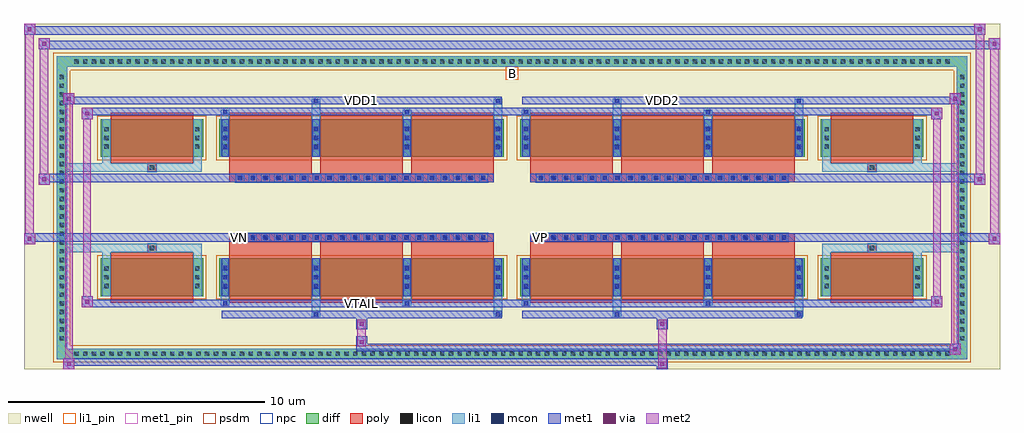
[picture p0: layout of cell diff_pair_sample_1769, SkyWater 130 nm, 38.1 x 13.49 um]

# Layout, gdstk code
import gdstk
lib = gdstk.Library(unit=1e-6, precision=5e-09)
def R(c, l, rs):  # rectangles x0, y0, x1, y1
    for r in rs: c.add(gdstk.rectangle(r[:2], r[2:], *l))
def A(c, l, x, y, w, h, nx, ny, dx, dy):  # array of equal rectangles
    R(c, l, [(x+i*dx, y+j*dy, x+i*dx+w, y+j*dy+h) for i in range(nx) for j in range(ny)])
def P(c, l, *ps):  # polygons
    for p in ps: c.add(gdstk.Polygon(p, *l))
nwell = (64, 20)
diff = (65, 20)
poly = (66, 20)
licon = (66, 44)
li1_pin = (67, 16)
li1 = (67, 20)
mcon = (67, 44)
met1_pin = (68, 16)
met1 = (68, 20)
via = (68, 44)
met2 = (69, 20)
psdm = (94, 20)
npc = (95, 20)

diff_pair_sample_1769 = lib.new_cell('diff_pair_sample_1769')
R(diff_pair_sample_1769, nwell, [(-19.05,-6.31,19.05,7.18), (-16.37,-4.5,-0.01,-0.8), (0.01,-4.5,16.37,-0.8), (-16.37,0.8,-0.01,4.5), (0.01,0.8,16.37,4.5)])
A(diff_pair_sample_1769, diff, -17.205, -5.91, 0.41, 0.41, 101, 2, 0.34, 11.41)
A(diff_pair_sample_1769, diff, -17.78, -5.305, 0.41, 0.41, 1, 31, 0, 0.34)
A(diff_pair_sample_1769, diff, 17.37, -5.305, 0.41, 0.41, 1, 31, 0, 0.34)
R(diff_pair_sample_1769, diff, [(-17.205,-5.91,17.205,-5.5), (-17.78,-5.305,-17.37,5.305), (17.37,-5.305,17.78,5.305), (-16.06,-3.455,-12.06,-1.985), (-11.42,-3.455,-0.32,-1.985), (0.32,-3.455,11.42,-1.985), (12.06,-3.455,16.06,-1.985), (-16.06,1.985,-12.06,3.455), (-11.42,1.985,-0.32,3.455), (0.32,1.985,11.42,3.455), (12.06,1.985,16.06,3.455), (-17.205,5.5,17.205,5.91)])
P(diff_pair_sample_1769, diff, [(17.78,5.91),(-17.78,5.91),(-17.78,-5.5),(-17.37,-5.5),(-17.37,5.5),(17.37,5.5),(17.37,-5.5),(-17.37,-5.5),(-17.78,-5.5),(-17.78,-5.91),(17.78,-5.91)])
A(diff_pair_sample_1769, poly, -11.03, -3.705, 3.22, 1.97, 3, 2, 3.55, 5.44)
A(diff_pair_sample_1769, poly, 0.71, -3.705, 3.22, 1.97, 3, 2, 3.55, 5.44)
A(diff_pair_sample_1769, poly, -11.03, -1.735, 3.22, 0.405, 3, 2, 3.55, 3.065)
A(diff_pair_sample_1769, poly, 0.71, -1.735, 3.22, 0.405, 3, 2, 3.55, 3.065)
A(diff_pair_sample_1769, poly, -10.785, -1.33, 0.33, 0.33, 20, 2, 0.5, 2.33)
A(diff_pair_sample_1769, poly, 0.955, -1.33, 0.33, 0.33, 20, 2, 0.5, 2.33)
R(diff_pair_sample_1769, poly, [(-15.67,-3.705,-12.45,-1.735), (12.45,-3.705,15.67,-1.735), (-14.225,-1.735,-13.895,-1.405), (-14.225,-1.735,-13.895,-1.405), (13.895,-1.735,14.225,-1.405), (13.895,-1.735,14.225,-1.405), (-11.03,-1.33,-0.71,-1), (0.71,-1.33,11.03,-1), (-11.03,1,-0.71,1.33), (0.71,1,11.03,1.33), (-14.225,1.405,-13.895,1.735), (-14.225,1.405,-13.895,1.735), (13.895,1.405,14.225,1.735), (13.895,1.405,14.225,1.735), (-15.67,1.735,-12.45,3.705), (12.45,1.735,15.67,3.705)])
A(diff_pair_sample_1769, licon, -17.085, -5.79, 0.17, 0.17, 101, 2, 0.34, 11.41)
A(diff_pair_sample_1769, licon, -17.66, -5.185, 0.17, 0.17, 1, 31, 0, 0.34)
A(diff_pair_sample_1769, licon, 17.49, -5.185, 0.17, 0.17, 1, 31, 0, 0.34)
A(diff_pair_sample_1769, licon, -15.92, -3.145, 0.17, 0.17, 1, 3, 0, 0.34)
A(diff_pair_sample_1769, licon, -12.37, -3.145, 0.17, 0.17, 1, 3, 0, 0.34)
A(diff_pair_sample_1769, licon, -11.28, -3.145, 0.17, 0.17, 4, 3, 3.55, 0.34)
A(diff_pair_sample_1769, licon, 0.46, -3.145, 0.17, 0.17, 4, 3, 3.55, 0.34)
A(diff_pair_sample_1769, licon, 12.2, -3.145, 0.17, 0.17, 1, 3, 0, 0.34)
A(diff_pair_sample_1769, licon, 15.75, -3.145, 0.17, 0.17, 1, 3, 0, 0.34)
A(diff_pair_sample_1769, licon, -10.705, -1.25, 0.17, 0.17, 20, 2, 0.5, 2.33)
A(diff_pair_sample_1769, licon, 1.035, -1.25, 0.17, 0.17, 20, 2, 0.5, 2.33)
A(diff_pair_sample_1769, licon, -15.92, 2.295, 0.17, 0.17, 1, 3, 0, 0.34)
A(diff_pair_sample_1769, licon, -12.37, 2.295, 0.17, 0.17, 1, 3, 0, 0.34)
A(diff_pair_sample_1769, licon, -11.28, 2.295, 0.17, 0.17, 4, 3, 3.55, 0.34)
A(diff_pair_sample_1769, licon, 0.46, 2.295, 0.17, 0.17, 4, 3, 3.55, 0.34)
A(diff_pair_sample_1769, licon, 12.2, 2.295, 0.17, 0.17, 1, 3, 0, 0.34)
A(diff_pair_sample_1769, licon, 15.75, 2.295, 0.17, 0.17, 1, 3, 0, 0.34)
R(diff_pair_sample_1769, licon, [(-14.145,-1.655,-13.975,-1.485), (13.975,-1.655,14.145,-1.485), (-14.145,1.485,-13.975,1.655), (13.975,1.485,14.145,1.655)])
R(diff_pair_sample_1769, li1_pin, [(-0.25,5,0.25,5.5)])
A(diff_pair_sample_1769, li1, -17.165, -5.87, 0.33, 0.33, 101, 2, 0.34, 11.41)
A(diff_pair_sample_1769, li1, -17.74, -5.265, 0.33, 0.33, 1, 31, 0, 0.34)
A(diff_pair_sample_1769, li1, 17.41, -5.265, 0.33, 0.33, 1, 31, 0, 0.34)
A(diff_pair_sample_1769, li1, -11.36, -3.455, 0.33, 1.47, 4, 2, 3.55, 5.44)
A(diff_pair_sample_1769, li1, 0.38, -3.455, 0.33, 1.47, 4, 2, 3.55, 5.44)
A(diff_pair_sample_1769, li1, -16, -3.225, 0.33, 0.33, 1, 3, 0, 0.34)
A(diff_pair_sample_1769, li1, -12.45, -3.225, 0.33, 0.33, 1, 3, 0, 0.34)
A(diff_pair_sample_1769, li1, -11.36, -3.225, 0.33, 0.33, 4, 3, 3.55, 0.34)
A(diff_pair_sample_1769, li1, 0.38, -3.225, 0.33, 0.33, 4, 3, 3.55, 0.34)
A(diff_pair_sample_1769, li1, 12.12, -3.225, 0.33, 0.33, 1, 3, 0, 0.34)
A(diff_pair_sample_1769, li1, 15.67, -3.225, 0.33, 0.33, 1, 3, 0, 0.34)
A(diff_pair_sample_1769, li1, -11.28, -3.165, 0.17, 0.17, 4, 3, 3.55, 0.36)
A(diff_pair_sample_1769, li1, -11.28, -3.165, 0.17, 0.89, 4, 2, 3.55, 5.44)
A(diff_pair_sample_1769, li1, 0.46, -3.165, 0.17, 0.17, 4, 3, 3.55, 0.36)
A(diff_pair_sample_1769, li1, 0.46, -3.165, 0.17, 0.89, 4, 2, 3.55, 5.44)
A(diff_pair_sample_1769, li1, -10.785, -1.33, 0.33, 0.33, 20, 2, 0.5, 2.33)
A(diff_pair_sample_1769, li1, 0.955, -1.33, 0.33, 0.33, 20, 2, 0.5, 2.33)
A(diff_pair_sample_1769, li1, -16, 2.215, 0.33, 0.33, 1, 3, 0, 0.34)
A(diff_pair_sample_1769, li1, -12.45, 2.215, 0.33, 0.33, 1, 3, 0, 0.34)
A(diff_pair_sample_1769, li1, -11.36, 2.215, 0.33, 0.33, 4, 3, 3.55, 0.34)
A(diff_pair_sample_1769, li1, 0.38, 2.215, 0.33, 0.33, 4, 3, 3.55, 0.34)
A(diff_pair_sample_1769, li1, 12.12, 2.215, 0.33, 0.33, 1, 3, 0, 0.34)
A(diff_pair_sample_1769, li1, 15.67, 2.215, 0.33, 0.33, 1, 3, 0, 0.34)
A(diff_pair_sample_1769, li1, -11.28, 2.275, 0.17, 0.17, 4, 3, 3.55, 0.36)
A(diff_pair_sample_1769, li1, 0.46, 2.275, 0.17, 0.17, 4, 3, 3.55, 0.36)
R(diff_pair_sample_1769, li1, [(-17.78,-5.91,-17.37,-5.5), (-17.78,-5.91,-17.37,-5.5), (-17.37,-5.91,17.37,-5.5), (17.37,-5.91,17.78,-5.5), (17.37,-5.91,17.78,-5.5), (-17.78,-5.5,-17.37,5.5), (17.37,-5.5,17.78,5.5), (-7.81,-4.26,-7.48,-3.455), (-7.73,-4.26,-7.56,-4.09), (-0.71,-4.26,-0.38,-3.455), (-0.63,-4.26,-0.46,-4.09), (3.93,-4.26,4.26,-3.455), (4.01,-4.26,4.18,-4.09), (11.03,-4.26,11.36,-3.455), (11.11,-4.26,11.28,-4.09), (-11.36,-3.83,-11.03,-3.455), (-11.28,-3.83,-11.11,-3.66), (-4.26,-3.83,-3.93,-3.455), (-4.18,-3.83,-4.01,-3.66), (0.38,-3.83,0.71,-3.455), (0.46,-3.83,0.63,-3.66), (7.48,-3.83,7.81,-3.455), (7.56,-3.83,7.73,-3.66), (-16,-3.455,-15.67,-1.985), (-12.45,-3.455,-12.12,-1.985), (12.12,-3.455,12.45,-1.985), (15.67,-3.455,16,-1.985), (-16,-1.985,-15.67,-1.405), (-12.45,-1.985,-12.12,-1.405), (12.12,-1.985,12.45,-1.405), (15.67,-1.985,16,-1.405), (-17.78,-1.735,-14.225,-1.405), (-16,-1.735,-14.225,-1.405), (-14.225,-1.735,-13.895,-1.405), (-13.895,-1.735,-12.12,-1.405), (12.12,-1.735,13.895,-1.405), (13.895,-1.735,14.225,-1.405), (13.895,-1.735,17.78,-1.405), (14.225,-1.735,16,-1.405), (-17.78,1.405,-14.225,1.735), (-16,1.405,-14.225,1.735), (-16,1.405,-15.67,1.985), (-14.225,1.405,-13.895,1.735), (-13.895,1.405,-12.12,1.735), (-12.45,1.405,-12.12,1.985), (12.12,1.405,13.895,1.735), (12.12,1.405,12.45,1.985), (13.895,1.405,14.225,1.735), (13.895,1.405,17.78,1.735), (14.225,1.405,16,1.735), (15.67,1.405,16,1.985), (-16,1.985,-15.67,3.455), (-12.45,1.985,-12.12,3.455), (12.12,1.985,12.45,3.455), (15.67,1.985,16,3.455), (-11.36,3.455,-11.03,3.83), (-7.81,3.455,-7.48,4.26), (-4.26,3.455,-3.93,3.83), (-0.71,3.455,-0.38,4.26), (0.38,3.455,0.71,3.83), (3.93,3.455,4.26,4.26), (7.48,3.455,7.81,3.83), (11.03,3.455,11.36,4.26), (-11.28,3.66,-11.11,3.83), (-4.18,3.66,-4.01,3.83), (0.46,3.66,0.63,3.83), (7.56,3.66,7.73,3.83), (-7.73,4.09,-7.56,4.26), (-0.63,4.09,-0.46,4.26), (4.01,4.09,4.18,4.26), (11.11,4.09,11.28,4.26), (-17.78,5.5,-17.37,5.91), (-17.78,5.5,-17.37,5.91), (-17.37,5.5,17.37,5.91), (17.37,5.5,17.78,5.91), (17.37,5.5,17.78,5.91)])
A(diff_pair_sample_1769, mcon, -11.28, -3.165, 0.17, 0.17, 4, 3, 3.55, 0.36)
A(diff_pair_sample_1769, mcon, 0.46, -3.165, 0.17, 0.17, 4, 3, 3.55, 0.36)
A(diff_pair_sample_1769, mcon, -10.705, -1.25, 0.17, 0.17, 20, 2, 0.5, 2.33)
A(diff_pair_sample_1769, mcon, 1.035, -1.25, 0.17, 0.17, 20, 2, 0.5, 2.33)
A(diff_pair_sample_1769, mcon, -11.28, 2.275, 0.17, 0.17, 4, 3, 3.55, 0.36)
A(diff_pair_sample_1769, mcon, 0.46, 2.275, 0.17, 0.17, 4, 3, 3.55, 0.36)
R(diff_pair_sample_1769, mcon, [(-7.73,-4.26,-7.56,-4.09), (-0.63,-4.26,-0.46,-4.09), (4.01,-4.26,4.18,-4.09), (11.11,-4.26,11.28,-4.09), (-11.28,-3.83,-11.11,-3.66), (-4.18,-3.83,-4.01,-3.66), (0.46,-3.83,0.63,-3.66), (7.56,-3.83,7.73,-3.66), (-11.28,3.66,-11.11,3.83), (-4.18,3.66,-4.01,3.83), (0.46,3.66,0.63,3.83), (7.56,3.66,7.73,3.83), (-7.73,4.09,-7.56,4.26), (-0.63,4.09,-0.46,4.26), (4.01,4.09,4.18,4.26), (11.11,4.09,11.28,4.26)])
R(diff_pair_sample_1769, met1_pin, [(-6.005,-3.87,-5.735,-3.6), (-10.755,-1.29,-10.485,-1.02), (0.985,-1.29,1.255,-1.02), (-6.005,4.05,-5.735,4.32), (5.735,4.05,6.005,4.32)])
A(diff_pair_sample_1769, met1, -11.34, -3.455, 0.29, 1.47, 4, 2, 3.55, 5.44)
A(diff_pair_sample_1769, met1, 0.4, -3.455, 0.29, 1.47, 4, 2, 3.55, 5.44)
A(diff_pair_sample_1769, met1, -11.34, -3.225, 0.29, 0.29, 4, 3, 3.55, 0.36)
A(diff_pair_sample_1769, met1, 0.4, -3.225, 0.29, 0.29, 4, 3, 3.55, 0.36)
A(diff_pair_sample_1769, met1, -10.765, -1.31, 0.29, 0.29, 20, 2, 0.5, 2.33)
A(diff_pair_sample_1769, met1, 0.975, -1.31, 0.29, 0.29, 20, 2, 0.5, 2.33)
A(diff_pair_sample_1769, met1, -11.34, 2.215, 0.29, 0.29, 4, 3, 3.55, 0.36)
A(diff_pair_sample_1769, met1, 0.4, 2.215, 0.29, 0.29, 4, 3, 3.55, 0.36)
R(diff_pair_sample_1769, met1, [(-17.51,-6.31,-17.08,-5.88), (5.655,-6.31,6.085,-5.88), (-17.51,-6.17,6.085,-5.88), (17.08,-5.74,17.51,-5.31), (-6.085,-5.6,17.51,-5.31), (-6.085,-5.46,-5.655,-5.03), (-6.085,-4.75,-5.655,-4.32), (5.655,-4.75,6.085,-4.32), (-11.34,-4.32,-0.4,-4.03), (-7.79,-4.32,-7.5,-4.03), (-0.69,-4.32,-0.4,-4.03), (0.4,-4.32,11.34,-4.03), (3.95,-4.32,4.24,-4.03), (11.05,-4.32,11.34,-4.03), (-16.8,-3.89,-16.37,-3.46), (-16.8,-3.89,-11.34,-3.6), (-11.34,-3.89,-11.05,-3.6), (-11.34,-3.89,-0.4,-3.6), (-4.24,-3.89,-3.95,-3.6), (-0.4,-3.89,0.4,-3.6), (0.4,-3.89,0.69,-3.6), (0.4,-3.89,11.34,-3.6), (7.5,-3.89,7.79,-3.6), (11.34,-3.89,16.8,-3.6), (16.37,-3.89,16.8,-3.46), (-19.05,-1.43,-18.62,-1), (18.62,-1.43,19.05,-1), (-19.05,-1.33,-0.71,-1), (-11.03,-1.33,-0.71,-1), (0.71,-1.33,11.03,-1), (0.71,-1.33,19.05,-1), (-18.48,0.9,-18.05,1.33), (18.05,0.9,18.48,1.33), (-18.48,1,-11.03,1.33), (-11.03,1,-0.71,1.33), (0.71,1,11.03,1.33), (11.03,1,18.48,1.33), (-16.8,3.46,-16.37,3.89), (16.37,3.46,16.8,3.89), (-16.8,3.6,-11.34,3.89), (-11.34,3.6,-11.05,3.89), (-11.34,3.6,-0.4,3.89), (-4.24,3.6,-3.95,3.89), (-0.4,3.6,0.4,3.89), (0.4,3.6,0.69,3.89), (0.4,3.6,11.34,3.89), (7.5,3.6,7.79,3.89), (11.34,3.6,16.8,3.89), (-17.51,4.03,-17.08,4.46), (-17.51,4.03,-11.34,4.32), (-11.34,4.03,-0.4,4.32), (-7.79,4.03,-7.5,4.32), (-0.69,4.03,-0.4,4.32), (0.4,4.03,11.34,4.32), (3.95,4.03,4.24,4.32), (11.05,4.03,11.34,4.32), (11.34,4.03,17.51,4.32), (17.08,4.03,17.51,4.46), (-18.48,6.18,-18.05,6.61), (-18.48,6.18,-16.37,6.51), (-16.37,6.18,16.37,6.51), (16.37,6.18,19.05,6.51), (18.62,6.18,19.05,6.61), (-19.05,6.75,-18.62,7.18), (-19.05,6.75,-16.37,7.08), (-16.37,6.75,16.37,7.08), (16.37,6.75,18.48,7.08), (18.05,6.75,18.48,7.18)])
R(diff_pair_sample_1769, via, [(-17.37,-6.17,-17.22,-6.02), (5.795,-6.17,5.945,-6.02), (17.22,-5.6,17.37,-5.45), (-5.945,-5.32,-5.795,-5.17), (-5.945,-4.61,-5.795,-4.46), (5.795,-4.61,5.945,-4.46), (-16.66,-3.75,-16.51,-3.6), (16.51,-3.75,16.66,-3.6), (-18.91,-1.29,-18.76,-1.14), (18.76,-1.29,18.91,-1.14), (-18.34,1.04,-18.19,1.19), (18.19,1.04,18.34,1.19), (-16.66,3.6,-16.51,3.75), (16.51,3.6,16.66,3.75), (-17.37,4.17,-17.22,4.32), (17.22,4.17,17.37,4.32), (-18.34,6.32,-18.19,6.47), (18.76,6.32,18.91,6.47), (-18.91,6.89,-18.76,7.04), (18.19,6.89,18.34,7.04)])
R(diff_pair_sample_1769, met2, [(-17.51,-6.31,-17.08,-5.88), (-17.44,-6.31,-17.15,4.46), (-17.15,-6.31,-17.08,-5.88), (-17.46,-6.26,-17.13,-5.93), (5.705,-6.26,6.035,-5.93), (5.705,-5.93,6.035,-4.7), (17.08,-5.74,17.51,-5.31), (17.15,-5.74,17.44,4.46), (17.44,-5.74,17.51,-5.31), (17.13,-5.69,17.46,-5.36), (-6.035,-5.41,-5.705,-5.08), (-6.035,-5.08,-5.705,-4.7), (-6.035,-4.7,-5.705,-4.37), (5.705,-4.7,6.035,-4.37), (-16.8,-3.89,-16.37,-3.46), (-16.73,-3.89,-16.44,3.89), (-16.44,-3.89,-16.37,-3.46), (16.37,-3.89,16.8,-3.46), (16.44,-3.89,16.73,3.89), (16.73,-3.89,16.8,-3.46), (-16.75,-3.84,-16.42,-3.51), (16.42,-3.84,16.75,-3.51), (-19.05,-1.43,-18.62,-1), (-19,-1.43,-18.67,7.18), (-18.67,-1.43,-18.62,-1), (18.62,-1.43,19.05,-1), (18.67,-1.43,19,6.61), (19,-1.43,19.05,-1), (-19,-1.38,-18.67,-1.05), (18.67,-1.38,19,-1.05), (-18.48,0.9,-18.05,1.33), (-18.43,0.9,-18.1,6.61), (-18.1,0.9,-18.05,1.33), (18.05,0.9,18.48,1.33), (18.1,0.9,18.43,7.18), (18.43,0.9,18.48,1.33), (-18.43,0.95,-18.1,1.28), (18.1,0.95,18.43,1.28), (-16.8,3.46,-16.37,3.89), (-16.44,3.46,-16.37,3.89), (16.37,3.46,16.8,3.89), (16.73,3.46,16.8,3.89), (-16.75,3.51,-16.42,3.84), (16.42,3.51,16.75,3.84), (-17.51,4.03,-17.08,4.46), (-17.15,4.03,-17.08,4.46), (17.08,4.03,17.51,4.46), (17.44,4.03,17.51,4.46), (-17.46,4.08,-17.13,4.41), (17.13,4.08,17.46,4.41), (-18.48,6.18,-18.05,6.61), (-18.1,6.18,-18.05,6.61), (18.62,6.18,19.05,6.61), (19,6.18,19.05,6.61), (-18.43,6.23,-18.1,6.56), (18.67,6.23,19,6.56), (-19.05,6.75,-18.62,7.18), (-18.67,6.75,-18.62,7.18), (18.05,6.75,18.48,7.18), (18.43,6.75,18.48,7.18), (-19,6.8,-18.67,7.13), (18.1,6.8,18.43,7.13)])
R(diff_pair_sample_1769, psdm, [(-16.19,-3.585,-11.93,-1.855), (-11.55,-3.585,-0.19,-1.855), (0.19,-3.585,11.55,-1.855), (11.93,-3.585,16.19,-1.855), (-16.19,1.855,-11.93,3.585), (-11.55,1.855,-0.19,3.585), (0.19,1.855,11.55,3.585), (11.93,1.855,16.19,3.585)])
P(diff_pair_sample_1769, psdm, [(17.91,6.04),(-17.91,6.04),(-17.91,-5.37),(-17.24,-5.37),(-17.24,5.37),(17.24,5.37),(17.24,-5.37),(-17.24,-5.37),(-17.91,-5.37),(-17.91,-6.04),(17.91,-6.04)])
A(diff_pair_sample_1769, npc, -10.805, -1.35, 0.37, 0.37, 20, 2, 0.5, 2.33)
A(diff_pair_sample_1769, npc, 0.935, -1.35, 0.37, 0.37, 20, 2, 0.5, 2.33)
R(diff_pair_sample_1769, npc, [(-14.245,-1.755,-13.875,-1.385), (13.875,-1.755,14.245,-1.385), (-10.805,-1.35,-9.935,-0.98), (-10.805,-1.35,-9.935,-0.98), (-10.305,-1.35,-9.435,-0.98), (-10.305,-1.35,-9.435,-0.98), (-9.805,-1.35,-8.935,-0.98), (-9.805,-1.35,-8.935,-0.98), (-9.305,-1.35,-8.435,-0.98), (-9.305,-1.35,-8.435,-0.98), (-8.805,-1.35,-7.935,-0.98), (-8.805,-1.35,-7.935,-0.98), (-8.305,-1.35,-7.435,-0.98), (-8.305,-1.35,-7.435,-0.98), (-7.805,-1.35,-6.935,-0.98), (-7.805,-1.35,-6.935,-0.98), (-7.305,-1.35,-6.435,-0.98), (-7.305,-1.35,-6.435,-0.98), (-6.805,-1.35,-5.935,-0.98), (-6.805,-1.35,-5.935,-0.98), (-6.305,-1.35,-5.435,-0.98), (-6.305,-1.35,-5.435,-0.98), (-5.805,-1.35,-4.935,-0.98), (-5.805,-1.35,-4.935,-0.98), (-5.305,-1.35,-4.435,-0.98), (-5.305,-1.35,-4.435,-0.98), (-4.805,-1.35,-3.935,-0.98), (-4.805,-1.35,-3.935,-0.98), (-4.305,-1.35,-3.435,-0.98), (-4.305,-1.35,-3.435,-0.98), (-3.805,-1.35,-2.935,-0.98), (-3.805,-1.35,-2.935,-0.98), (-3.305,-1.35,-2.435,-0.98), (-3.305,-1.35,-2.435,-0.98), (-2.805,-1.35,-1.935,-0.98), (-2.805,-1.35,-1.935,-0.98), (-2.305,-1.35,-1.435,-0.98), (-2.305,-1.35,-1.435,-0.98), (-1.805,-1.35,-0.935,-0.98), (-1.805,-1.35,-0.935,-0.98), (0.935,-1.35,1.805,-0.98), (0.935,-1.35,1.805,-0.98), (1.435,-1.35,2.305,-0.98), (1.435,-1.35,2.305,-0.98), (1.935,-1.35,2.805,-0.98), (1.935,-1.35,2.805,-0.98), (2.435,-1.35,3.305,-0.98), (2.435,-1.35,3.305,-0.98), (2.935,-1.35,3.805,-0.98), (2.935,-1.35,3.805,-0.98), (3.435,-1.35,4.305,-0.98), (3.435,-1.35,4.305,-0.98), (3.935,-1.35,4.805,-0.98), (3.935,-1.35,4.805,-0.98), (4.435,-1.35,5.305,-0.98), (4.435,-1.35,5.305,-0.98), (4.935,-1.35,5.805,-0.98), (4.935,-1.35,5.805,-0.98), (5.435,-1.35,6.305,-0.98), (5.435,-1.35,6.305,-0.98), (5.935,-1.35,6.805,-0.98), (5.935,-1.35,6.805,-0.98), (6.435,-1.35,7.305,-0.98), (6.435,-1.35,7.305,-0.98), (6.935,-1.35,7.805,-0.98), (6.935,-1.35,7.805,-0.98), (7.435,-1.35,8.305,-0.98), (7.435,-1.35,8.305,-0.98), (7.935,-1.35,8.805,-0.98), (7.935,-1.35,8.805,-0.98), (8.435,-1.35,9.305,-0.98), (8.435,-1.35,9.305,-0.98), (8.935,-1.35,9.805,-0.98), (8.935,-1.35,9.805,-0.98), (9.435,-1.35,10.305,-0.98), (9.435,-1.35,10.305,-0.98), (9.935,-1.35,10.805,-0.98), (9.935,-1.35,10.805,-0.98), (-10.805,0.98,-9.935,1.35), (-10.805,0.98,-9.935,1.35), (-10.305,0.98,-9.435,1.35), (-10.305,0.98,-9.435,1.35), (-9.805,0.98,-8.935,1.35), (-9.805,0.98,-8.935,1.35), (-9.305,0.98,-8.435,1.35), (-9.305,0.98,-8.435,1.35), (-8.805,0.98,-7.935,1.35), (-8.805,0.98,-7.935,1.35), (-8.305,0.98,-7.435,1.35), (-8.305,0.98,-7.435,1.35), (-7.805,0.98,-6.935,1.35), (-7.805,0.98,-6.935,1.35), (-7.305,0.98,-6.435,1.35), (-7.305,0.98,-6.435,1.35), (-6.805,0.98,-5.935,1.35), (-6.805,0.98,-5.935,1.35), (-6.305,0.98,-5.435,1.35), (-6.305,0.98,-5.435,1.35), (-5.805,0.98,-4.935,1.35), (-5.805,0.98,-4.935,1.35), (-5.305,0.98,-4.435,1.35), (-5.305,0.98,-4.435,1.35), (-4.805,0.98,-3.935,1.35), (-4.805,0.98,-3.935,1.35), (-4.305,0.98,-3.435,1.35), (-4.305,0.98,-3.435,1.35), (-3.805,0.98,-2.935,1.35), (-3.805,0.98,-2.935,1.35), (-3.305,0.98,-2.435,1.35), (-3.305,0.98,-2.435,1.35), (-2.805,0.98,-1.935,1.35), (-2.805,0.98,-1.935,1.35), (-2.305,0.98,-1.435,1.35), (-2.305,0.98,-1.435,1.35), (-1.805,0.98,-0.935,1.35), (-1.805,0.98,-0.935,1.35), (0.935,0.98,1.805,1.35), (0.935,0.98,1.805,1.35), (1.435,0.98,2.305,1.35), (1.435,0.98,2.305,1.35), (1.935,0.98,2.805,1.35), (1.935,0.98,2.805,1.35), (2.435,0.98,3.305,1.35), (2.435,0.98,3.305,1.35), (2.935,0.98,3.805,1.35), (2.935,0.98,3.805,1.35), (3.435,0.98,4.305,1.35), (3.435,0.98,4.305,1.35), (3.935,0.98,4.805,1.35), (3.935,0.98,4.805,1.35), (4.435,0.98,5.305,1.35), (4.435,0.98,5.305,1.35), (4.935,0.98,5.805,1.35), (4.935,0.98,5.805,1.35), (5.435,0.98,6.305,1.35), (5.435,0.98,6.305,1.35), (5.935,0.98,6.805,1.35), (5.935,0.98,6.805,1.35), (6.435,0.98,7.305,1.35), (6.435,0.98,7.305,1.35), (6.935,0.98,7.805,1.35), (6.935,0.98,7.805,1.35), (7.435,0.98,8.305,1.35), (7.435,0.98,8.305,1.35), (7.935,0.98,8.805,1.35), (7.935,0.98,8.805,1.35), (8.435,0.98,9.305,1.35), (8.435,0.98,9.305,1.35), (8.935,0.98,9.805,1.35), (8.935,0.98,9.805,1.35), (9.435,0.98,10.305,1.35), (9.435,0.98,10.305,1.35), (9.935,0.98,10.805,1.35), (9.935,0.98,10.805,1.35), (-14.245,1.385,-13.875,1.755), (13.875,1.385,14.245,1.755)])
diff_pair_sample_1769.add(gdstk.Label('VTAIL', (-5.87,-3.735), layer=68, texttype=5))
diff_pair_sample_1769.add(gdstk.Label('VN', (-10.62,-1.155), layer=68, texttype=5))
diff_pair_sample_1769.add(gdstk.Label('VP', (1.12,-1.155), layer=68, texttype=5))
diff_pair_sample_1769.add(gdstk.Label('B', (0,5.25), layer=67, texttype=5))
diff_pair_sample_1769.add(gdstk.Label('VDD2', (5.87,4.185), layer=68, texttype=5))
diff_pair_sample_1769.add(gdstk.Label('VDD1', (-5.87,4.185), layer=68, texttype=5))

lib.write_gds('diff_pair_sample_1769.gds')
